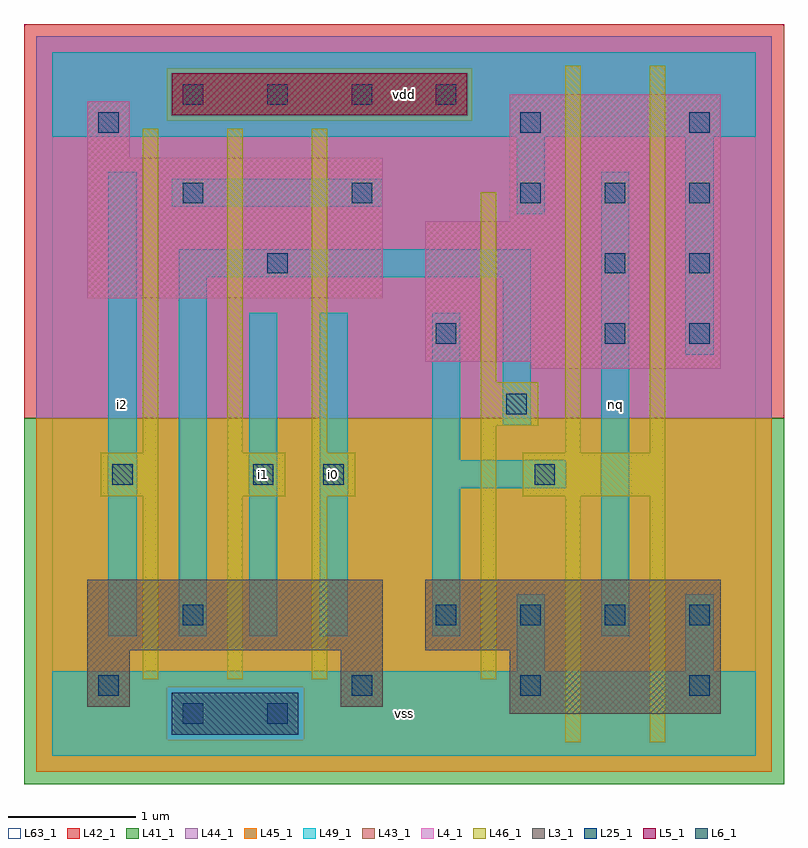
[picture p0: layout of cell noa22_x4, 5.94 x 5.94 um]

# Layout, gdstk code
import gdstk
lib = gdstk.Library(unit=1e-6, precision=1e-09)
def R(c, l, rs):  # rectangles x0, y0, x1, y1
    for r in rs: c.add(gdstk.rectangle(r[:2], r[2:], *l))
def A(c, l, x, y, w, h, nx, ny, dx, dy):  # array of equal rectangles
    R(c, l, [(x+i*dx, y+j*dy, x+i*dx+w, y+j*dy+h) for i in range(nx) for j in range(ny)])
L3_1 = (3, 1)
L4_1 = (4, 1)
L5_1 = (5, 1)
L6_1 = (6, 1)
L25_1 = (25, 1)
L41_1 = (41, 1)
L42_1 = (42, 1)
L43_1 = (43, 1)
L44_1 = (44, 1)
L45_1 = (45, 1)
L46_1 = (46, 1)
L49_1 = (49, 1)
L63_1 = (63, 1)

noa22_x4 = lib.new_cell('noa22_x4')
R(noa22_x4, L3_1, [(3.575,0.33,5.225,0.825), (0.275,0.385,0.605,0.825), (2.255,0.385,2.585,0.825), (0.275,0.825,2.585,1.375), (2.915,0.825,5.225,1.375)])
R(noa22_x4, L4_1, [(3.74,3.025,5.225,3.08), (2.915,3.08,5.225,4.18), (0.275,3.575,2.585,4.675), (3.575,4.18,5.225,5.17), (0.275,4.675,0.605,5.115)])
R(noa22_x4, L5_1, [(0.935,5.005,3.245,5.335)])
R(noa22_x4, L6_1, [(0.935,0.165,1.925,0.495)])
A(noa22_x4, L25_1, 2.34, 0.47, 0.16, 0.16, 3, 1, 1.32, 0)
A(noa22_x4, L25_1, 3, 1.02, 0.16, 0.16, 4, 1, 0.66, 0)
A(noa22_x4, L25_1, 4.32, 3.22, 0.16, 0.16, 1, 3, 0, 0.55)
A(noa22_x4, L25_1, 4.98, 3.22, 0.16, 0.16, 1, 4, 0, 0.55)
A(noa22_x4, L25_1, 1.02, 4.32, 0.16, 0.16, 3, 1, 1.32, 0)
A(noa22_x4, L25_1, 1.02, 5.09, 0.16, 0.16, 4, 1, 0.66, 0)
R(noa22_x4, L25_1, [(1.02,0.25,1.18,0.41), (1.68,0.25,1.84,0.41), (0.36,0.47,0.52,0.63), (1.02,1.02,1.18,1.18), (0.47,2.12,0.63,2.28), (1.57,2.12,1.73,2.28), (2.12,2.12,2.28,2.28), (3.77,2.12,3.93,2.28), (3.55,2.67,3.71,2.83), (3,3.22,3.16,3.38), (1.68,3.77,1.84,3.93), (0.36,4.87,0.52,5.03), (3.66,4.87,3.82,5.03)])
R(noa22_x4, L41_1, [(-0.22,-0.22,5.72,2.64)])
R(noa22_x4, L42_1, [(-0.22,2.64,5.72,5.72)])
R(noa22_x4, L43_1, [(0.935,0.165,1.925,0.495), (3.575,0.33,5.225,0.825), (0.275,0.385,0.605,0.825), (2.255,0.385,2.585,0.825), (0.275,0.825,2.585,1.375), (2.915,0.825,5.225,1.375), (3.74,3.025,5.225,3.08), (2.915,3.08,5.225,4.18), (0.275,3.575,2.585,4.675), (3.575,4.18,5.225,5.17), (0.275,4.675,0.605,5.115), (0.935,5.005,3.245,5.335)])
R(noa22_x4, L44_1, [(0.895,0.125,1.965,0.535), (-0.125,2.64,5.625,4.965), (-0.125,4.965,0.895,5.375), (3.285,4.965,5.625,5.375), (-0.125,5.375,5.625,5.625)])
R(noa22_x4, L45_1, [(-0.125,-0.125,5.625,0.125), (-0.125,0.125,0.895,0.535), (1.965,0.125,5.625,0.535), (-0.125,0.535,5.625,2.64), (0.895,4.965,3.285,5.375)])
A(noa22_x4, L46_1, 0.71, 0.6, 0.12, 1.43, 3, 1, 0.66, 0)
A(noa22_x4, L46_1, 0.71, 2.37, 0.12, 2.53, 3, 1, 0.66, 0)
R(noa22_x4, L46_1, [(4.01,0.105,4.13,2.03), (4.67,0.105,4.79,2.03), (3.35,0.6,3.47,2.58), (0.38,2.03,0.83,2.37), (1.37,2.03,1.82,2.37), (2.03,2.03,2.37,2.37), (3.68,2.03,4.79,2.37), (4.01,2.37,4.13,5.395), (4.67,2.37,4.79,5.395), (3.35,2.58,3.8,2.92), (3.35,2.92,3.47,4.405)])
R(noa22_x4, L49_1, [(0,0,5.5,0.66), (3.63,0.66,3.85,1.265), (4.95,0.66,5.17,1.265), (0.44,0.935,0.66,4.565), (0.99,0.935,1.21,3.74), (1.54,0.935,1.76,3.465), (2.09,0.935,2.31,3.465), (2.97,0.935,3.19,2.09), (4.29,0.935,4.51,4.565), (2.97,2.09,4.015,2.31), (2.97,2.31,3.19,3.465), (3.52,2.585,3.74,3.74), (4.95,3.135,5.17,4.84), (0.99,3.74,3.74,3.96), (3.63,4.235,3.85,4.84), (0.935,4.29,2.585,4.51), (0,4.84,5.5,5.5)])
R(noa22_x4, L63_1, [(0,0,5.5,5.5)])
noa22_x4.add(gdstk.Label('i2', (0.55,2.75), layer=49, texttype=1))
noa22_x4.add(gdstk.Label('i0', (2.2,2.2), layer=49, texttype=1))
noa22_x4.add(gdstk.Label('i1', (1.65,2.2), layer=49, texttype=1))
noa22_x4.add(gdstk.Label('vss', (2.75,0.33), layer=49, texttype=1))
noa22_x4.add(gdstk.Label('vdd', (2.75,5.17), layer=49, texttype=1))
noa22_x4.add(gdstk.Label('nq', (4.4,2.75), layer=49, texttype=1))

lib.write_gds('noa22_x4.gds')
